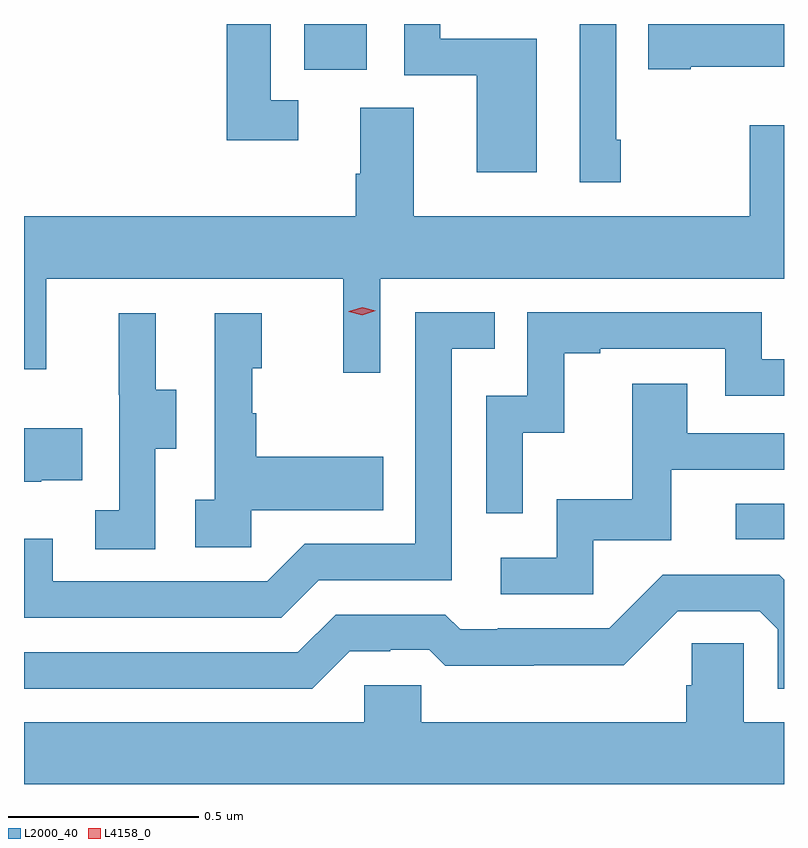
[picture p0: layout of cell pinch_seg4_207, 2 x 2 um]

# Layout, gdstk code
import gdstk
lib = gdstk.Library(unit=1e-6, precision=1e-09)
def R(c, l, rs):  # rectangles x0, y0, x1, y1
    for r in rs: c.add(gdstk.rectangle(r[:2], r[2:], *l))
def P(c, l, *ps):  # polygons
    for p in ps: c.add(gdstk.Polygon(p, *l))
L2000_40 = (2000, 40)
L4158_0 = (4158, 0)

pinch_seg4_207 = lib.new_cell('pinch_seg4_207')
R(pinch_seg4_207, L2000_40, [(977.421,829.434,977.548,829.527), (976.286,830.67,976.45,830.79)])
P(pinch_seg4_207, L2000_40, [(976.27,830.589),(976.197,830.589),(976.197,830.79),(976.081,830.79),(976.081,830.484),(976.27,830.484)],
  [(977.119,830.485),(977.106,830.485),(977.106,830.79),(977.01,830.79),(977.01,830.373),(977.119,830.373)],
  [(977.302,830.678),(977.548,830.678),(977.548,830.79),(977.191,830.79),(977.191,830.671),(977.302,830.671)],
  [(976.897,830.751),(976.643,830.751),(976.643,830.79),(976.548,830.79),(976.548,830.655),(976.739,830.655),(976.739,830.4),(976.897,830.4)],
  [(976.485,830.12),(977.548,830.12),(977.548,830.524),(977.458,830.524),(977.458,830.284),(976.573,830.284),(976.573,830.57),(976.433,830.57),(976.433,830.396),(976.421,830.396),(976.421,830.284),(975.548,830.284),(975.548,829.881),(975.607,829.881),(975.607,830.12),(976.388,830.12),(976.388,829.872),(976.485,829.872)],
  [(976.324,829.326),(976.674,829.326),(976.674,829.935),(976.787,829.935),(976.787,830.031),(976.578,830.031),(976.578,829.422),(976.287,829.422),(976.188,829.323),(975.624,829.323),(975.624,829.435),(975.548,829.435),(975.548,829.227),(976.225,829.227)],
  [(976.86,829.715),(976.97,829.715),(976.97,829.923),(977.065,829.923),(977.065,829.935),(977.394,829.935),(977.394,829.812),(977.548,829.812),(977.548,829.908),(977.49,829.908),(977.49,830.031),(976.872,830.031),(976.872,829.812),(976.764,829.812),(976.764,829.503),(976.86,829.503)],
  [(975.894,829.672),(975.949,829.672),(975.949,829.827),(975.895,829.827),(975.895,830.029),(975.797,830.029),(975.797,829.815),(975.798,829.815),(975.798,829.511),(975.735,829.511),(975.735,829.408),(975.894,829.408)],
  [(976.146,829.511),(976.493,829.511),(976.493,829.651),(976.159,829.651),(976.159,829.766),(976.149,829.766),(976.149,829.884),(976.174,829.884),(976.174,830.029),(976.05,830.029),(976.05,829.538),(975.999,829.538),(975.999,829.413),(976.146,829.413)],
  [(977.046,829.431),(977.251,829.431),(977.251,829.617),(977.548,829.617),(977.548,829.713),(977.293,829.713),(977.293,829.843),(977.149,829.843),(977.149,829.54),(976.95,829.54),(976.95,829.386),(976.803,829.386),(976.803,829.29),(977.046,829.29)],
  [(975.593,829.589),(975.701,829.589),(975.701,829.726),(975.548,829.726),(975.548,829.586),(975.593,829.586)],
  [(976.405,829.14),(976.512,829.14),(976.512,829.143),(976.615,829.143),(976.657,829.101),(976.89,829.101),(976.89,829.103),(977.126,829.103),(977.268,829.245),(977.484,829.245),(977.532,829.197),(977.532,829.041),(977.548,829.041),(977.548,829.328),(977.535,829.341),(977.229,829.341),(977.088,829.2),(976.795,829.2),(976.795,829.197),(976.696,829.197),(976.657,829.236),(976.368,829.236),(976.269,829.137),(975.548,829.137),(975.548,829.041),(976.306,829.041)],
  [(977.548,828.952),(977.442,828.952),(977.442,829.16),(977.305,829.16),(977.305,829.05),(977.291,829.05),(977.291,828.952),(976.593,828.952),(976.593,829.05),(976.443,829.05),(976.443,828.952),(975.548,828.952),(975.548,828.79),(977.548,828.79)])
P(pinch_seg4_207, L4158_0, [(976.438,830.024),(976.403,830.033),(976.403,830.033),(976.403,830.034),(976.438,830.044),(976.473,830.036),(976.473,830.035),(976.473,830.035)])

lib.write_gds('pinch_seg4_207.gds')
